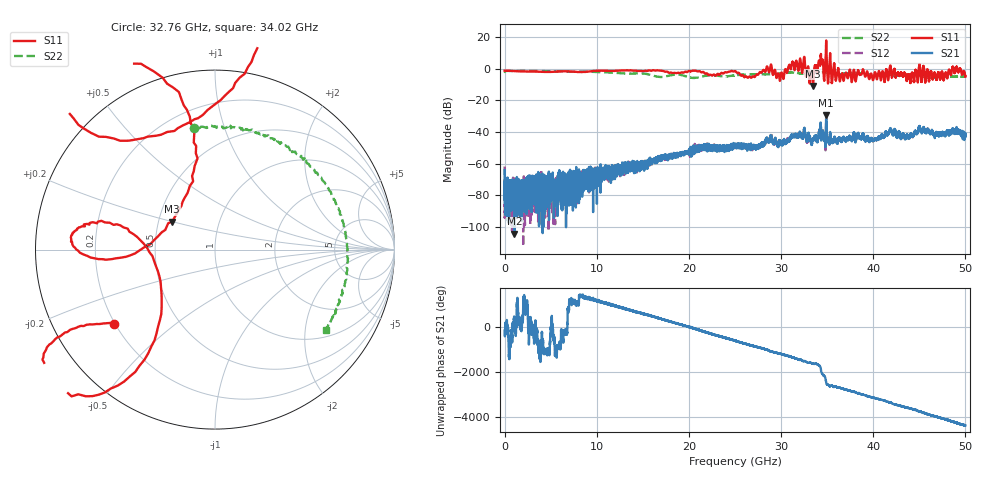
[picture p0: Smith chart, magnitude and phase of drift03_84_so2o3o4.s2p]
!Created with skrf (http://scikit-rf.org).
# Hz S RI R 50.0
!freq ReS11 ImS11 ReS21 ImS21 ReS12 ImS12 ReS22 ImS22
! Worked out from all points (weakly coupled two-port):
!   10001 points, 300 kHz to 50 GHz, reference 50 ohm
!   highest |S21| = -29.48 dB at 34.9 GHz (marker M1); lowest = -104.2 dB at 1.06 GHz (marker M2)
!   lowest |S11| = -10.9 dB at 33.47 GHz (marker M3), VSWR 1.80, Z = 29.5 + j10 ohm
!   |S11| at or under -10 dB: 33.44873 GHz to 33.48311 GHz (34.37 MHz wide, 0.103 % of centre)
!   |S22| runs from -5.9 to -1.3 dB; largest |S21 - S12| = 0.0089
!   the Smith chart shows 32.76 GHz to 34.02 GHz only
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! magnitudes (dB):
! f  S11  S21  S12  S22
! 300 kHz  -1.3  -64.1  -61.8  -2.0
! 260.3 MHz  -1.3  -81.6  -75.6  -1.4
! 1.06 GHz  -1.5  -104.2  -68.4  -1.5
! 5.4 GHz  -2.0  -75.2  -87.7  -1.6
! 8.335 GHz  -2.2  -69.7  -75.9  -1.9
! 16.67 GHz  -1.1  -56.5  -57.1  -5.1
! 25 GHz  -1.5  -49.0  -49.5  -4.3
! 26.92 GHz  -4.9  -50.1  -49.9  -3.5
! 28.73 GHz  -2.2  -46.0  -45.2  -3.5
! 30.06 GHz  -2.5  -47.7  -48.0  -2.9
! 31.87 GHz  -1.4  -42.1  -41.8  -2.9
! 33.34 GHz  -2.1  -47.4  -47.4  -2.9
! 33.47 GHz  -10.9  -44.5  -44.9  -2.8
! 34.3 GHz  7.7  -34.0  -35.7  -2.3
! 34.9 GHz  17.8  -29.5  -31.3  -2.3
! 36.58 GHz  -3.4  -46.0  -46.2  -3.5
! 40.19 GHz  -2.2  -44.0  -44.2  -3.7
! 41.67 GHz  -5.5  -40.5  -40.7  -3.6
! 43.84 GHz  -3.7  -43.6  -43.8  -3.8
! 45.12 GHz  -0.8  -37.6  -38.4  -4.5
! 48.84 GHz  -2.7  -38.4  -39.3  -5.1
! 50 GHz  -4.9  -42.3  -41.5  -4.9
